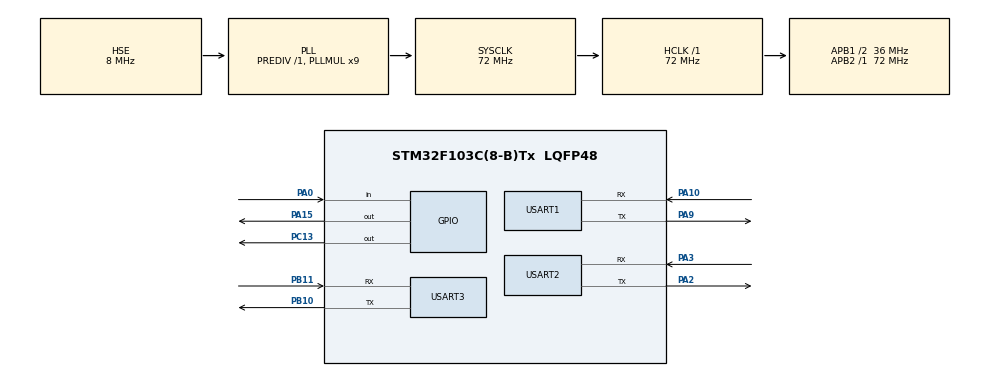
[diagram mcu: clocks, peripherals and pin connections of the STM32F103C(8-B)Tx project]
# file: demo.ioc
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Mcu.Family=STM32F1
Mcu.Name=STM32F103C(8-B)Tx
Mcu.Package=LQFP48
NVIC.PriorityGroup=NVIC_PRIORITYGROUP_4
PA0-WKUP.Signal=GPIO_Input
PA10.Mode=Asynchronous
PA10.Signal=USART1_RX
PA13.Mode=Serial_Wire
PA13.Signal=SYS_JTMS-SWDIO
PA14.Mode=Serial_Wire
PA14.Signal=SYS_JTCK-SWCLK
PA15.GPIO_PuPd=GPIO_PULLDOWN
PA15.GPIO_Speed=GPIO_SPEED_FREQ_MEDIUM
PA15.Signal=GPIO_Output
PA2.Mode=Asynchronous
PA2.Signal=USART2_TX
PA3.Mode=Asynchronous
PA3.Signal=USART2_RX
PA9.Mode=Asynchronous
PA9.Signal=USART1_TX
PB10.Mode=Asynchronous
PB10.Signal=USART3_TX
PB11.Mode=Asynchronous
PB11.Signal=USART3_RX
PC13-TAMPER-RTC.Signal=GPIO_Output
PD0-OSC_IN.Mode=HSE-External-Oscillator
PD0-OSC_IN.Signal=RCC_OSC_IN
PD1-OSC_OUT.Mode=HSE-External-Oscillator
PD1-OSC_OUT.Signal=RCC_OSC_OUT
ProjectManager.HeapSize=0x200
ProjectManager.StackSize=0x400
ProjectManager.TargetToolchain=MDK-ARM V5
RCC.AHBFreq_Value=72000000
RCC.APB1CLKDivider=RCC_HCLK_DIV2
RCC.APB1Freq_Value=36000000
RCC.APB1TimFreq_Value=72000000
RCC.APB2Freq_Value=72000000
RCC.APB2TimFreq_Value=72000000
RCC.EnbaleCSS=true
RCC.HCLKFreq_Value=72000000
RCC.PLLMUL=RCC_PLL_MUL9
RCC.PLLSourceVirtual=RCC_PLLSOURCE_HSE
RCC.SYSCLKFreq_VALUE=72000000
RCC.SYSCLKSource=RCC_SYSCLKSOURCE_PLLCLK
RCC.USBFreq_Value=72000000
USART1.VirtualMode=VM_ASYNC
USART2.VirtualMode=VM_ASYNC
USART3.VirtualMode=VM_ASYNC
VP_CRC_VS_CRC.Mode=CRC_Activate
board=custom

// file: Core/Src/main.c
/* USER CODE BEGIN Header */
/**
 ******************************************************************************
 * @file           : main.c
 * @brief          : Main program body
 ******************************************************************************
 * @attention
 *
 * Copyright (c) 2025 STMicroelectronics.
 * All rights reserved.
 *
 * This software is licensed under terms that can be found in the LICENSE file
 * in the root directory of this software component.
 * If no LICENSE file comes with this software, it is provided AS-IS.
 *
 ******************************************************************************
 */
/* USER CODE END Header */
#include "main.h"

/* USER CODE BEGIN Includes */
#include <stdarg.h>
#include <string.h>
#include <stdint.h>
#include <stdio.h>
/* USER CODE END Includes */

/* USER CODE BEGIN PTD */
typedef void (*app_entry_t)(void);
/* USER CODE END PTD */

/* USER CODE BEGIN PD */

// enable this line to get debug messages over debug uart
// #define BL_DEBUG_MSG_EN

/* USER CODE END PD */

CRC_HandleTypeDef hcrc;

UART_HandleTypeDef huart1;
UART_HandleTypeDef huart2;
UART_HandleTypeDef huart3;

/* USER CODE BEGIN PV */
/* Private variables ---------------------------------------------------------*/

uint8_t supported_commands[] = {
    BL_GET_VER,
    BL_GET_HELP,
    BL_GET_CID,
    BL_GET_RDP_STATUS,
    BL_GO_TO_ADDR,
    BL_FLASH_ERASE,
    BL_MEM_WRITE,
    BL_READ_SECTOR_P_STATUS};

#define D_UART          &huart2
#define C_UART          &huart1
#define BL_DEBUG_MSG_EN 1

/* USER CODE END PV */

void SystemClock_Config(void);
static void MX_GPIO_Init(void);
static void MX_CRC_Init(void);
static void MX_USART2_UART_Init(void);
static void MX_USART3_UART_Init(void);
static void MX_USART1_UART_Init(void);
/* USER CODE BEGIN PFP */
/* Private function prototypes -----------------------------------------------*/
static void printmsg(char* format, ...);
/* USER CODE END PFP */

/* USER CODE BEGIN 0 */

#define BL_RX_LEN 200
uint8_t bl_rx_buffer[BL_RX_LEN];

/* USER CODE END 0 */

int main(void)
{

  /* MCU Configuration--------------------------------------------------------*/

  /* Reset of all peripherals, Initializes the Flash interface and the Systick. */
  HAL_Init();

  /* Configure the system clock */
  SystemClock_Config();

  /* Initialize all configured peripherals */
  MX_GPIO_Init();
  MX_CRC_Init();
  MX_USART2_UART_Init();
  MX_USART3_UART_Init();
  MX_USART1_UART_Init();
  /* USER CODE BEGIN 2 */
    // flash_testing();

    /* Lets check whether button is pressed or not, if not pressed jump to user application */
    if (HAL_GPIO_ReadPin(GPIOA, GPIO_PIN_0) == GPIO_PIN_SET)  // modify button here
    {
        printmsg("BL_DEBUG_MSG:Button is pressed .. going to BL mode\n\r");

        // we should continue in bootloader mode
        bootloader_uart_read_data();
    }
    else
    {
        printmsg("BL_DEBUG_MSG:Button is not pressed .. executing user app\n");

        // jump to user application
        bootloader_jump_to_user_app();
    }

  /* USER CODE END 2 */

  /* Infinite loop */
    while (1)
    {

    }
}

void SystemClock_Config(void)
{
  RCC_OscInitTypeDef RCC_OscInitStruct = {0};
  RCC_ClkInitTypeDef RCC_ClkInitStruct = {0};

  /** Initializes the RCC Oscillators according to the specified parameters
  * in the RCC_OscInitTypeDef structure.
  */
  RCC_OscInitStruct.OscillatorType = RCC_OSCILLATORTYPE_HSE;
  RCC_OscInitStruct.HSEState = RCC_HSE_ON;
  RCC_OscInitStruct.HSEPredivValue = RCC_HSE_PREDIV_DIV1;
  RCC_OscInitStruct.HSIState = RCC_HSI_ON;
  RCC_OscInitStruct.PLL.PLLState = RCC_PLL_ON;
  RCC_OscInitStruct.PLL.PLLSource = RCC_PLLSOURCE_HSE;
  RCC_OscInitStruct.PLL.PLLMUL = RCC_PLL_MUL9;
  if (HAL_RCC_OscConfig(&RCC_OscInitStruct) != HAL_OK)
  {
    Error_Handler();
  }

  /** Initializes the CPU, AHB and APB buses clocks
  */
  RCC_ClkInitStruct.ClockType = RCC_CLOCKTYPE_HCLK|RCC_CLOCKTYPE_SYSCLK
                              |RCC_CLOCKTYPE_PCLK1|RCC_CLOCKTYPE_PCLK2;
  RCC_ClkInitStruct.SYSCLKSource = RCC_SYSCLKSOURCE_PLLCLK;
  RCC_ClkInitStruct.AHBCLKDivider = RCC_SYSCLK_DIV1;
  RCC_ClkInitStruct.APB1CLKDivider = RCC_HCLK_DIV2;
  RCC_ClkInitStruct.APB2CLKDivider = RCC_HCLK_DIV1;

  if (HAL_RCC_ClockConfig(&RCC_ClkInitStruct, FLASH_LATENCY_2) != HAL_OK)
  {
    Error_Handler();
  }

  /** Enables the Clock Security System
  */
  HAL_RCC_EnableCSS();
}

static void MX_CRC_Init(void)
{

  hcrc.Instance = CRC;
  if (HAL_CRC_Init(&hcrc) != HAL_OK)
  {
    Error_Handler();
  }

}

static void MX_USART1_UART_Init(void)
{

  huart1.Instance = USART1;
  huart1.Init.BaudRate = 115200;
  huart1.Init.WordLength = UART_WORDLENGTH_8B;
  huart1.Init.StopBits = UART_STOPBITS_1;
  huart1.Init.Parity = UART_PARITY_NONE;
  huart1.Init.Mode = UART_MODE_TX_RX;
  huart1.Init.HwFlowCtl = UART_HWCONTROL_NONE;
  huart1.Init.OverSampling = UART_OVERSAMPLING_16;
  if (HAL_UART_Init(&huart1) != HAL_OK)
  {
    Error_Handler();
  }

}

static void MX_USART2_UART_Init(void)
{

  huart2.Instance = USART2;
  huart2.Init.BaudRate = 115200;
  huart2.Init.WordLength = UART_WORDLENGTH_8B;
  huart2.Init.StopBits = UART_STOPBITS_1;
  huart2.Init.Parity = UART_PARITY_NONE;
  huart2.Init.Mode = UART_MODE_TX_RX;
  huart2.Init.HwFlowCtl = UART_HWCONTROL_NONE;
  huart2.Init.OverSampling = UART_OVERSAMPLING_16;
  if (HAL_UART_Init(&huart2) != HAL_OK)
  {
    Error_Handler();
  }

}

static void MX_USART3_UART_Init(void)
{

  huart3.Instance = USART3;
  huart3.Init.BaudRate = 115200;
  huart3.Init.WordLength = UART_WORDLENGTH_8B;
  huart3.Init.StopBits = UART_STOPBITS_1;
  huart3.Init.Parity = UART_PARITY_NONE;
  huart3.Init.Mode = UART_MODE_TX_RX;
  huart3.Init.HwFlowCtl = UART_HWCONTROL_NONE;
  huart3.Init.OverSampling = UART_OVERSAMPLING_16;
  if (HAL_UART_Init(&huart3) != HAL_OK)
  {
    Error_Handler();
  }

}

static void MX_GPIO_Init(void)
{
  GPIO_InitTypeDef GPIO_InitStruct = {0};

  /* GPIO Ports Clock Enable */
  __HAL_RCC_GPIOC_CLK_ENABLE();
  __HAL_RCC_GPIOD_CLK_ENABLE();
  __HAL_RCC_GPIOA_CLK_ENABLE();
  __HAL_RCC_GPIOB_CLK_ENABLE();

  /*Configure GPIO pin Output Level */
  HAL_GPIO_WritePin(GPIOC, GPIO_PIN_13, GPIO_PIN_RESET);

  /*Configure GPIO pin Output Level */
  HAL_GPIO_WritePin(GPIOA, GPIO_PIN_15, GPIO_PIN_RESET);

  /*Configure GPIO pin : PC13 */
  GPIO_InitStruct.Pin = GPIO_PIN_13;
  GPIO_InitStruct.Mode = GPIO_MODE_OUTPUT_PP;
  GPIO_InitStruct.Pull = GPIO_NOPULL;
  GPIO_InitStruct.Speed = GPIO_SPEED_FREQ_LOW;
  HAL_GPIO_Init(GPIOC, &GPIO_InitStruct);

  /*Configure GPIO pin : PA0 */
  GPIO_InitStruct.Pin = GPIO_PIN_0;
  GPIO_InitStruct.Mode = GPIO_MODE_INPUT;
  GPIO_InitStruct.Pull = GPIO_NOPULL;
  HAL_GPIO_Init(GPIOA, &GPIO_InitStruct);

  /*Configure GPIO pin : PA15 */
  GPIO_InitStruct.Pin = GPIO_PIN_15;
  GPIO_InitStruct.Mode = GPIO_MODE_OUTPUT_PP;
  GPIO_InitStruct.Pull = GPIO_PULLDOWN;
  GPIO_InitStruct.Speed = GPIO_SPEED_FREQ_MEDIUM;
  HAL_GPIO_Init(GPIOA, &GPIO_InitStruct);

}

/* USER CODE BEGIN 4 */

void bootloader_uart_read_data(void)
{
    uint8_t rcv_len = 0;

    while (1)
    {
        memset(bl_rx_buffer, 0, 200);
        // here we will read and decode the commands coming from host
        // first read only one byte from the host , which is the "length" field of the command packet
        // if(HAL_UART_GetState(C_UART) != HAL_UART_STATE_BUSY){
        HAL_UART_Receive(C_UART, bl_rx_buffer, 1, HAL_MAX_DELAY);

        //}

        rcv_len = bl_rx_buffer[0];
        if (rcv_len == 0) { continue; }  // to trim the padding /0 string character at the end
        // if(HAL_UART_GetState(C_UART) != HAL_UART_STATE_BUSY_TX_RX){
        HAL_UART_Receive(C_UART, &bl_rx_buffer[1], rcv_len, HAL_MAX_DELAY);

        //}
        switch (bl_rx_buffer[1])
        {
            case BL_GET_VER:
                bootloader_handle_getver_cmd(bl_rx_buffer);
                break;
            case BL_GET_HELP:
                bootloader_handle_gethelp_cmd(bl_rx_buffer);
                break;
            case BL_GET_CID:
                bootloader_handle_getcid_cmd(bl_rx_buffer);
                break;
            case BL_GET_RDP_STATUS:
                bootloader_handle_getrdp_cmd(bl_rx_buffer);
                break;
            case BL_GO_TO_ADDR:
                bootloader_handle_go_cmd(bl_rx_buffer);
                break;
            case BL_FLASH_ERASE:
                bootloader_handle_flash_erase_cmd(bl_rx_buffer);
                break;
            case BL_MEM_WRITE:
                bootloader_handle_mem_write_cmd(bl_rx_buffer);
                break;
            case BL_EN_RW_PROTECT:
                bootloader_handle_en_rw_protect(bl_rx_buffer);
                break;
            case BL_MEM_READ:
                bootloader_handle_mem_read(bl_rx_buffer);
                break;
            case BL_READ_SECTOR_P_STATUS:
                // bootloader_handle_read_sector_protection_status(bl_rx_buffer);
                break;
            case BL_OTP_READ:
                bootloader_handle_read_otp(bl_rx_buffer);
                break;
            case BL_DIS_R_W_PROTECT:
                bootloader_handle_dis_rw_protect(bl_rx_buffer);
                break;
            default:
                printmsg("BL_DEBUG_MSG:Invalid command code received from host \n");
                printmsg("BL_DEBUG_MSG: %d \n", bl_rx_buffer[1]);
                printmsg("BL_DEBUG_MSG: %d \n", bl_rx_buffer[2]);
                break;
        }
    }
}

/*code to jump to user application
 *Here we are assuming FLASH_SECTOR2_BASE_ADDRESS
 *is where the user application is stored
 */
void bootloader_jump_to_user_app(void)
{
    // just a function pointer to hold the address of the reset handler of the user app.
    void (*app_reset_handler)(void);

    printmsg("BL_DEBUG_MSG:bootloader_jump_to_user_app\n");

    // 1. configure the MSP by reading the value from the base address of the sector 2
    uint32_t msp_value = *(volatile uint32_t*)FLASH_SECTOR2_BASE_ADDRESS;
    printmsg("BL_DEBUG_MSG:MSP value : %#x\n", msp_value);

    // This function comes from CMSIS.
    __set_MSP(msp_value);

    // SCB->VTOR = FLASH_SECTOR1_BASE_ADDRESS;

    /* 2. Now fetch the reset handler address of the user application
     * from the location FLASH_SECTOR2_BASE_ADDRESS+4
     */
    uint32_t resethandler_address = *(volatile uint32_t*)(FLASH_SECTOR2_BASE_ADDRESS + 4);

    app_reset_handler = (app_entry_t)resethandler_address;

    printmsg("BL_DEBUG_MSG: app reset handler addr : %#x\n", app_reset_handler);

    // 3. jump to reset handler of the user application
    app_reset_handler();
}
/* prints formatted string to console over UART */
void printmsg(char* format, ...)
{
#ifdef BL_DEBUG_MSG_EN
    char str[80];

    /*Extract the the argument list using VA apis */
    va_list args;
    va_start(args, format);
    vsprintf(str, format, args);
    // here
    HAL_UART_Transmit(D_UART, (uint8_t*)str, strlen(str), HAL_MAX_DELAY);
    va_end(args);
#endif
}

/**************Implementation of Boot-loader Command Handle functions *********/

/*Helper function to handle BL_GET_VER command */
void bootloader_handle_getver_cmd(uint8_t* bl_rx_buffer)
{
    uint8_t bl_version;

    // 1) verify the checksum
    printmsg("BL_DEBUG_MSG:bootloader_handle_getver_cmd\n");

    // Total length of the command packet
    uint32_t command_packet_len = bl_rx_buffer[0] + 1;

    // extract the CRC32 sent by the Host
    uint32_t host_crc = *((uint32_t*)(bl_rx_buffer + command_packet_len - 4));

    if (!bootloader_verify_crc(&bl_rx_buffer[0], command_packet_len - 4, host_crc))
    {
        printmsg("BL_DEBUG_MSG:checksum success !!\n");
        // checksum is correct..
        bootloader_send_ack(bl_rx_buffer[0], 1);
        bl_version = get_bootloader_version();
        printmsg("BL_DEBUG_MSG:BL_VER : %d %#x\n", bl_version, bl_version);
        bootloader_uart_write_data(&bl_version, 1);
    }
    else
    {
        printmsg("BL_DEBUG_MSG:checksum fail !!\n");
        // checksum is wrong send nack
        bootloader_send_nack();
    }
}

/*Helper function to handle BL_GET_HELP command
 * Bootloader sends out All supported Command codes
 */
void bootloader_handle_gethelp_cmd(uint8_t* pBuffer)
{
    printmsg("BL_DEBUG_MSG:bootloader_handle_gethelp_cmd\n");

    // Total length of the command packet
    uint32_t command_packet_len = bl_rx_buffer[0] + 1;

    // extract the CRC32 sent by the Host
    uint32_t host_crc = *((uint32_t*)(bl_rx_buffer + command_packet_len - 4));

    if (!bootloader_verify_crc(&bl_rx_buffer[0], command_packet_len - 4, host_crc))
    {
        printmsg("BL_DEBUG_MSG:checksum success !!\n");
        bootloader_send_ack(pBuffer[0], sizeof(supported_commands));
        bootloader_uart_write_data(supported_commands, sizeof(supported_commands));
    }
    else
    {
        printmsg("BL_DEBUG_MSG:checksum fail !!\n");
        bootloader_send_nack();
    }
}

/*Helper function to handle BL_GET_CID command */
void bootloader_handle_getcid_cmd(uint8_t* pBuffer)
{
    uint16_t bl_cid_num = 0;
    printmsg("BL_DEBUG_MSG:bootloader_handle_getcid_cmd\n");

    // Total length of the command packet
    uint32_t command_packet_len = bl_rx_buffer[0] + 1;

    // extract the CRC32 sent by the Host
    uint32_t host_crc = *((uint32_t*)(bl_rx_buffer + command_packet_len - 4));

    if (!bootloader_verify_crc(&bl_rx_buffer[0], command_packet_len - 4, host_crc))
    {
        printmsg("BL_DEBUG_MSG:checksum success !!\n");
        bootloader_send_ack(pBuffer[0], 2);
        bl_cid_num = get_mcu_chip_id();
        printmsg("BL_DEBUG_MSG:MCU id : %d %#x !!\n", bl_cid_num, bl_cid_num);
        bootloader_uart_write_data((uint8_t*)&bl_cid_num, 2);
    }
    else
    {
        printmsg("BL_DEBUG_MSG:checksum fail !!\n");
        bootloader_send_nack();
    }
}

/*Helper function to handle BL_GET_RDP_STATUS command */
void bootloader_handle_getrdp_cmd(uint8_t* pBuffer)
{
    uint8_t rdp_level = 0x00;
    printmsg("BL_DEBUG_MSG:bootloader_handle_getrdp_cmd\n");

    // Total length of the command packet
    uint32_t command_packet_len = bl_rx_buffer[0] + 1;

    // extract the CRC32 sent by the Host
    uint32_t host_crc = *((uint32_t*)(bl_rx_buffer + command_packet_len - 4));

    if (!bootloader_verify_crc(&bl_rx_buffer[0], command_packet_len - 4, host_crc))
    {
        printmsg("BL_DEBUG_MSG:checksum success !!\n");
        bootloader_send_ack(pBuffer[0], 1);
        rdp_level = get_flash_rdp_level();
        printmsg("BL_DEBUG_MSG:RDP level: %d %#x\n", rdp_level, rdp_level);
        bootloader_uart_write_data(&rdp_level, 1);
    }
    else
    {
        printmsg("BL_DEBUG_MSG:checksum fail !!\n");
        bootloader_send_nack();
    }
}

/*Helper function to handle BL_GO_TO_ADDR command */
void bootloader_handle_go_cmd(uint8_t* pBuffer)
{
    uint32_t go_address   = 0;
    uint8_t  addr_valid   = ADDR_VALID;
    uint8_t  addr_invalid = ADDR_INVALID;

    printmsg("BL_DEBUG_MSG:bootloader_handle_go_cmd\n");

    // Total length of the command packet
    uint32_t command_packet_len = bl_rx_buffer[0] + 1;

    // extract the CRC32 sent by the Host
    uint32_t host_crc = *((uint32_t*)(bl_rx_buffer + command_packet_len - 4));

    if (!bootloader_verify_crc(&bl_rx_buffer[0], command_packet_len - 4, host_crc))
    {
        printmsg("BL_DEBUG_MSG:checksum success !!\n");

        bootloader_send_ack(pBuffer[0], 1);

        // extract the go address
        go_address = *((uint32_t*)&pBuffer[2]);
        printmsg("BL_DEBUG_MSG:GO addr: %#x\n", go_address);

        if (verify_address(go_address) == ADDR_VALID)
        {
            // tell host that address is fine
            bootloader_uart_write_data(&addr_valid, 1);

            /*jump to "go" address.
            we dont care what is being done there.
            host must ensure that valid code is present over there
            Its not the duty of bootloader. so just trust and jump */

            /* Not doing the below line will result in hardfault exception for ARM cortex M */
            // watch : https://www.youtube.com/watch?v=VX_12SjnNhY

            go_address += 1;  // make T bit =1

            void (*lets_jump)(void) = (app_entry_t)go_address;

            printmsg("BL_DEBUG_MSG: jumping to go address! \n");

            lets_jump();
        }
        else
        {
            printmsg("BL_DEBUG_MSG:GO addr invalid ! \n");
            // tell host that address is invalid
            bootloader_uart_write_data(&addr_invalid, 1);
        }
    }
    else
    {
        printmsg("BL_DEBUG_MSG:checksum fail !!\n");
        bootloader_send_nack();
    }
}

/*Helper function to handle BL_FLASH_ERASE command */
void bootloader_handle_flash_erase_cmd(uint8_t* pBuffer)
{
    uint8_t erase_status = 0x00;
    printmsg("BL_DEBUG_MSG:bootloader_handle_flash_erase_cmd\n");

    // Total length of the command packet
    uint32_t command_packet_len = bl_rx_buffer[0] + 1;

    // extract the CRC32 sent by the Host
    uint32_t host_crc = *((uint32_t*)(bl_rx_buffer + command_packet_len - 4));

    if (!bootloader_verify_crc(&bl_rx_buffer[0], command_packet_len - 4, host_crc))
    {
        printmsg("BL_DEBUG_MSG:checksum success !!\n");
        bootloader_send_ack(pBuffer[0], 1);
        printmsg("BL_DEBUG_MSG:initial_sector : %d  no_ofsectors: %d\n", pBuffer[2], pBuffer[3]);

        HAL_GPIO_WritePin(GPIOC, GPIO_PIN_13, GPIO_PIN_SET);
        erase_status = execute_flash_erase(pBuffer[2], pBuffer[3]);
        HAL_GPIO_WritePin(GPIOC, GPIO_PIN_13, GPIO_PIN_RESET);

        printmsg("BL_DEBUG_MSG: flash erase status: %#x\n", erase_status);

        bootloader_uart_write_data(&erase_status, 1);
    }
    else
    {
        printmsg("BL_DEBUG_MSG:checksum fail !!\n");
        bootloader_send_nack();
    }
}

/*Helper function to handle BL_MEM_WRITE command */
void bootloader_handle_mem_write_cmd(uint8_t* pBuffer)
{
    // uint8_t addr_valid = ADDR_VALID;
    uint8_t write_status = 0x00;
    uint8_t chksum       = 0;
    uint8_t len          = pBuffer[0];
    uint8_t payload_len  = pBuffer[6];

    uint32_t mem_address = *((uint32_t*)(&pBuffer[2]));

    chksum = pBuffer[len];

    printmsg("BL_DEBUG_MSG:bootloader_handle_mem_write_cmd\n");

    // Total length of the command packet
    uint32_t command_packet_len = bl_rx_buffer[0] + 1;

    // extract the CRC32 sent by the Host
    uint32_t host_crc = *((uint32_t*)(bl_rx_buffer + command_packet_len - 4));

    if (!bootloader_verify_crc(&bl_rx_buffer[0], command_packet_len - 4, host_crc))
    {
        printmsg("BL_DEBUG_MSG:checksum success !!\n");

        bootloader_send_ack(pBuffer[0], 1);

        printmsg("BL_DEBUG_MSG: mem write address : %#x\n", mem_address);

        if (verify_address(mem_address) == ADDR_VALID)
        {
            printmsg("BL_DEBUG_MSG: valid mem write address\n");

            // glow the led to indicate bootloader is currently writing to memory
            HAL_GPIO_WritePin(GPIOC, GPIO_PIN_13, GPIO_PIN_RESET);

            // execute mem write
            write_status = execute_mem_write(&pBuffer[7], mem_address, payload_len);

            // turn off the led to indicate memory write is over
            HAL_GPIO_WritePin(GPIOC, GPIO_PIN_13, GPIO_PIN_SET);

            // inform host about the status
            bootloader_uart_write_data(&write_status, 1);
        }
        else
        {
            printmsg("BL_DEBUG_MSG: invalid mem write address\n");
            write_status = ADDR_INVALID;
            // inform host that address is invalid
            bootloader_uart_write_data(&write_status, 1);
        }
    }
    else
    {
        printmsg("BL_DEBUG_MSG:checksum fail !!\n");
        bootloader_send_nack();
    }
}

/*Helper function to handle BL_EN_RW_PROTECT  command */
void bootloader_handle_en_rw_protect(uint8_t* pBuffer)
{
    uint8_t status = 0x00;
    printmsg("BL_DEBUG_MSG:bootloader_handle_endis_rw_protect\n");

    // Total length of the command packet
    uint32_t command_packet_len = bl_rx_buffer[0] + 1;

    // extract the CRC32 sent by the Host
    uint32_t host_crc = *((uint32_t*)(bl_rx_buffer + command_packet_len - 4));

    if (!bootloader_verify_crc(&bl_rx_buffer[0], command_packet_len - 4, host_crc))
    {
        printmsg("BL_DEBUG_MSG:checksum success !!\n");
        bootloader_send_ack(pBuffer[0], 1);

        status = configure_flash_sector_rw_protection(pBuffer[2], pBuffer[3], 0);

        printmsg("BL_DEBUG_MSG: flash erase status: %#x\n", status);

        bootloader_uart_write_data(&status, 1);
    }
    else
    {
        printmsg("BL_DEBUG_MSG:checksum fail !!\n");
        bootloader_send_nack();
    }
}

/*Helper function to handle BL_EN_RW_PROTECT  command */
void bootloader_handle_dis_rw_protect(uint8_t* pBuffer)
{
    uint8_t status = 0x00;
    printmsg("BL_DEBUG_MSG:bootloader_handle_dis_rw_protect\n");

    // Total length of the command packet
    uint32_t command_packet_len = bl_rx_buffer[0] + 1;

    // extract the CRC32 sent by the Host
    uint32_t host_crc = *((uint32_t*)(bl_rx_buffer + command_packet_len - 4));

    if (!bootloader_verify_crc(&bl_rx_buffer[0], command_packet_len - 4, host_crc))
    {
        printmsg("BL_DEBUG_MSG:checksum success !!\n");
        bootloader_send_ack(pBuffer[0], 1);

        status = configure_flash_sector_rw_protection(0, 0, 1);

        printmsg("BL_DEBUG_MSG: flash erase status: %#x\n", status);

        bootloader_uart_write_data(&status, 1);
    }
    else
    {
        printmsg("BL_DEBUG_MSG:checksum fail !!\n");
        bootloader_send_nack();
    }
}

/*Helper function to handle BL_MEM_READ command */
void bootloader_handle_mem_read(uint8_t* pBuffer)
{
}

/*Helper function to handle _BL_READ_SECTOR_P_STATUS command */
void bootloader_handle_read_sector_protection_status(uint8_t* pBuffer)
{
    uint16_t status;
    printmsg("BL_DEBUG_MSG:bootloader_handle_read_sector_protection_status\n");

    // Total length of the command packet
    uint32_t command_packet_len = bl_rx_buffer[0] + 1;

    // extract the CRC32 sent by the Host
    uint32_t host_crc = *((uint32_t*)(bl_rx_buffer + command_packet_len - 4));

    if (!bootloader_verify_crc(&bl_rx_buffer[0], command_packet_len - 4, host_crc))
    {
        printmsg("BL_DEBUG_MSG:checksum success !!\n");
        bootloader_send_ack(pBuffer[0], 2);
        status = read_OB_rw_protection_status();
        printmsg("BL_DEBUG_MSG: nWRP status: %#x\n", status);
        bootloader_uart_write_data((uint8_t*)&status, 2);
    }
    else
    {
        printmsg("BL_DEBUG_MSG:checksum fail !!\n");
        bootloader_send_nack();
    }
}

/*Helper function to handle BL_OTP_READ command */
void bootloader_handle_read_otp(uint8_t* pBuffer)
{
}

/*This function sends ACK if CRC matches along with "len to follow"*/
void bootloader_send_ack(uint8_t command_code, uint8_t follow_len)
{
    // here we send 2 byte.. first byte is ack and the second byte is len value
    uint8_t ack_buf[2];
    ack_buf[0] = BL_ACK;
    ack_buf[1] = follow_len;
    // here
    HAL_GPIO_WritePin(GPIOA, GPIO_PIN_15, GPIO_PIN_SET);
    HAL_UART_Transmit(C_UART, ack_buf, 2, HAL_MAX_DELAY);
    // HAL_Delay(100);
    // if(HAL_UART_GetState(C_UART) != HAL_UART_STATE_BUSY_TX_RX){
    HAL_GPIO_WritePin(GPIOA, GPIO_PIN_15, GPIO_PIN_RESET);

    //}
}

/*This function sends NACK */
void bootloader_send_nack(void)
{
    uint8_t nack = BL_NACK;
    // here
    HAL_GPIO_WritePin(GPIOA, GPIO_PIN_15, GPIO_PIN_SET);
    HAL_UART_Transmit(C_UART, &nack, 1, HAL_MAX_DELAY);
    // HAL_Delay(100);
    // if(HAL_UART_GetState(C_UART) != HAL_UART_STATE_BUSY_TX_RX){
    HAL_GPIO_WritePin(GPIOA, GPIO_PIN_15, GPIO_PIN_RESET);

    //}
}

// This verifies the CRC of the given buffer in pData .
uint8_t bootloader_verify_crc(uint8_t* pData, uint32_t len, uint32_t crc_host)
{
    uint32_t uwCRCValue = 0xff;

    for (uint32_t i = 0; i < len; i++)
    {
        uint32_t i_data = pData[i];
        uwCRCValue      = HAL_CRC_Accumulate(&hcrc, &i_data, 1);
    }

    /* Reset CRC Calculation Unit */
    __HAL_CRC_DR_RESET(&hcrc);

    if (uwCRCValue == crc_host)
    {
        return VERIFY_CRC_SUCCESS;
    }

    return VERIFY_CRC_FAIL;
}

/* This function writes data in to C_UART */
void bootloader_uart_write_data(uint8_t* pBuffer, uint32_t len)
{
    /*you can replace the below ST's USART driver API call with your MCUs driver API call */
    // here
    HAL_GPIO_WritePin(GPIOA, GPIO_PIN_15, GPIO_PIN_SET);
    HAL_UART_Transmit(C_UART, pBuffer, len, HAL_MAX_DELAY);
    // HAL_Delay(100);
    // if(HAL_UART_GetState(C_UART) != HAL_UART_STATE_BUSY_TX_RX){
    HAL_GPIO_WritePin(GPIOA, GPIO_PIN_15, GPIO_PIN_RESET);
    //}
}

// Just returns the macro value .
uint8_t get_bootloader_version(void)
{
    return (uint8_t)BL_VERSION;
}

// Read the chip identifier or device Identifier
uint16_t get_mcu_chip_id(void)
{
    /*
        The STM32F446xx MCUs integrate an MCU ID code. This ID identifies the ST MCU partnumber
        and the die revision. It is part of the DBG_MCU component and is mapped on the
        external PPB bus (see Section 33.16 on page 1304). This code is accessible using the
        JTAG debug pCat.2ort (4 to 5 pins) or the SW debug port (two pins) or by the user software.
        It is even accessible while the MCU is under system reset. */
    uint16_t cid;
    cid = (uint16_t)(DBGMCU->IDCODE) & 0x0FFF;
    return cid;
}

/*This function reads the RDP ( Read protection option byte) value
 *For more info refer "Table 9. Description of the option bytes" in stm32f446xx RM
 */
uint8_t get_flash_rdp_level(void)
{
    uint8_t rdp_status = 0;
#if 0
	FLASH_OBProgramInitTypeDef  ob_handle;
	HAL_FLASHEx_OBGetConfig(&ob_handle);
	rdp_status = (uint8_t)ob_handle.RDPLevel;
#else

    volatile uint32_t* pOB_addr = (uint32_t*)0x1FFFC000;
    rdp_status                  = (uint8_t)(*pOB_addr >> 8);
#endif

    return rdp_status;
}

// verify the address sent by the host .
uint8_t verify_address(uint32_t go_address)
{
    // so, what are the valid addresses to which we can jump ?
    // can we jump to system memory ? yes
    // can we jump to sram1 memory ?  yes
    // can we jump to sram2 memory ? yes
    // can we jump to backup sram memory ? yes
    // can we jump to peripheral memory ? its possible , but dont allow. so no
    // can we jump to external memory ? yes.

    // incomplete -poorly written .. optimize it
    if (go_address >= SRAM_BASE && go_address <= SRAM_END)
    {
        return ADDR_VALID;
    }
    else if (go_address >= FLASH_BASE && go_address <= FLASH_END)
    {
        return ADDR_VALID;
    }
    else
    {
        return ADDR_INVALID;
    }
}

uint8_t execute_flash_erase(uint8_t sector_number, uint8_t number_of_sector)
{
    // we have totally 8 sectors in STM32F446RE mcu .. sector[0 to 7]
    // number_of_sector has to be in the range of 0 to 7
    //  if sector_number = 0xff , that means mass erase !
    // Code needs to modified if your MCU supports more flash sectors
    FLASH_EraseInitTypeDef flashErase_handle;
    uint32_t               sectorError;
    HAL_StatusTypeDef      status;

    if (number_of_sector > 128)
    {
        return INVALID_SECTOR;
    }

    if ((sector_number == 0xff) || (sector_number <= 7))
    {
        if (sector_number == (uint8_t)0xff)
        {
            flashErase_handle.TypeErase = FLASH_TYPEERASE_MASSERASE;
        }
        else
        {
            /*Here we are just calculating how many sectors needs to erased*/
            uint8_t remanining_sector = 128 - sector_number;
            if (number_of_sector > remanining_sector)
            {
                number_of_sector = remanining_sector;
            }
            flashErase_handle.TypeErase   = FLASH_TYPEERASE_PAGES;
            flashErase_handle.PageAddress = FLASH_SECTOR2_BASE_ADDRESS;  // this is the initial sector
            flashErase_handle.NbPages     = number_of_sector;
        }
        flashErase_handle.Banks = FLASH_BANK_1;

        /*Get access to touch the flash registers */
        HAL_FLASH_Unlock();
        // flashErase_handle.VoltageRange = FLASH_VOLTAGE_RANGE_3;  // our mcu will work on this voltage range
        status = (uint8_t)HAL_FLASHEx_Erase(&flashErase_handle, &sectorError);
        HAL_FLASH_Lock();

        return status;
    }

    return INVALID_SECTOR;
}

/*This function writes the contents of pBuffer to  "mem_address" byte by byte */
// Note1 : Currently this function supports writing to Flash only .
// Note2 : This functions does not check whether "mem_address" is a valid address of the flash range.
uint8_t execute_mem_write(uint8_t* pBuffer, uint32_t mem_address, uint32_t len)
{
    uint8_t  status = HAL_OK;
    uint16_t temp   = 0;
    // We have to unlock flash module to get control of registers
    HAL_FLASH_Unlock();

    for (uint32_t i = 0; i < (len); i += 2)
    {
        temp   = (pBuffer[i + 1] << 8) | (pBuffer[i]);
        // Here we program the flash byte by byte
        status = HAL_FLASH_Program(FLASH_TYPEPROGRAM_HALFWORD, mem_address + i, temp);
    }

    HAL_FLASH_Lock();

    return status;
}

/*
Modifying user option bytes
To modify the user option value, follow the sequence below:
1. Check that no Flash memory operation is ongoing by checking the BSY bit in the
FLASH_SR register
2. Write the desired option value in the FLASH_OPTCR register.
3. Set the option start bit (OPTSTRT) in the FLASH_OPTCR register
4. Wait for the BSY bit to be cleared.
*/
uint8_t configure_flash_sector_rw_protection(uint8_t sector_details, uint8_t protection_mode, uint8_t disable)
{
    // First configure the protection mode
    // protection_mode =1 , means write protect of the user flash sectors
    // protection_mode =2, means read/write protect of the user flash sectors
    // According to RM of stm32f446xx TABLE 9, We have to modify the address 0x1FFF C008 bit 15(SPRMOD)

    // Flash option control register (OPTCR)
    volatile uint32_t* pOPTCR = (uint32_t*)0x40023C14;

    if (disable)
    {
        // disable all r/w protection on sectors

        // Option byte configuration unlock
        HAL_FLASH_OB_Unlock();

        // wait till no active operation on flash
        while (__HAL_FLASH_GET_FLAG(FLASH_FLAG_BSY) != RESET);

        // clear the 31st bit (default state)
        // please refer : Flash option control register (FLASH_OPTCR) in RM
        *pOPTCR &= ~(1UL << 31);

        // clear the protection : make all bits belonging to sectors as 1
        *pOPTCR |= (0xFF << 16);

        // Set the option start bit (OPTSTRT) in the FLASH_OPTCR register
        *pOPTCR |= (1 << 1);

        // wait till no active operation on flash
        while (__HAL_FLASH_GET_FLAG(FLASH_FLAG_BSY) != RESET);

        HAL_FLASH_OB_Lock();

        return 0;
    }

    if (protection_mode == (uint8_t)1)
    {
        // we are putting write protection on the sectors encoded in sector_details argument

        // Option byte configuration unlock
        HAL_FLASH_OB_Unlock();

        // wait till no active operation on flash
        while (__HAL_FLASH_GET_FLAG(FLASH_FLAG_BSY) != RESET);

        // here we are setting just write protection for the sectors
        // clear the 31st bit
        // please refer : Flash option control register (FLASH_OPTCR) in RM
        *pOPTCR &= ~(1UL << 31);

        // put write protection on sectors
        *pOPTCR &= ~(sector_details << 16);

        // Set the option start bit (OPTSTRT) in the FLASH_OPTCR register
        *pOPTCR |= (1UL << 1);

        // wait till no active operation on flash
        while (__HAL_FLASH_GET_FLAG(FLASH_FLAG_BSY) != RESET);

        HAL_FLASH_OB_Lock();
    }

    else if (protection_mode == (uint8_t)2)
    {
        // Option byte configuration unlock
        HAL_FLASH_OB_Unlock();

        // wait till no active operation on flash
        while (__HAL_FLASH_GET_FLAG(FLASH_FLAG_BSY) != RESET);

        // here wer are setting read and write protection for the sectors
        // set the 31st bit
        // please refer : Flash option control register (FLASH_OPTCR) in RM
        *pOPTCR |= (1UL << 31);

        // put read and write protection on sectors
        *pOPTCR &= ~(0xff << 16);
        *pOPTCR |= (sector_details << 16);

        // Set the option start bit (OPTSTRT) in the FLASH_OPTCR register
        *pOPTCR |= (1UL << 1);

        // wait till no active operation on flash
        while (__HAL_FLASH_GET_FLAG(FLASH_FLAG_BSY) != RESET);

        HAL_FLASH_OB_Lock();
    }

    return 0;
}

uint16_t read_OB_rw_protection_status(void)
{
#if 0
	//This structure is given by ST Flash driver to hold the OB(Option Byte) contents .
	FLASH_OBProgramInitTypeDef OBInit;

	//First unlock the OB(Option Byte) memory access
	HAL_FLASH_OB_Unlock();
	//get the OB configuration details
	HAL_FLASHEx_OBGetConfig(&OBInit);
	//Lock back .
	HAL_FLASH_Lock();

	//We are just interested in r/w protection status of the sectors.
	return (uint16_t)OBInit.WRPSector;
#else
    return 0;
#endif
}
/* USER CODE END 4 */

void Error_Handler(void)
{
    while (1)
    {
    }
}
